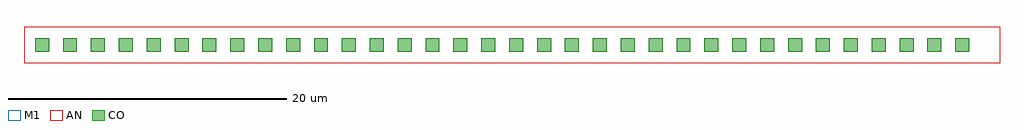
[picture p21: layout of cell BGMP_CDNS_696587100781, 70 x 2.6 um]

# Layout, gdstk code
import gdstk
lib = gdstk.Library(unit=1e-6, precision=1e-09)
def R(c, l, rs):  # rectangles x0, y0, x1, y1
    for r in rs: c.add(gdstk.rectangle(r[:2], r[2:], *l))
def A(c, l, x, y, w, h, nx, ny, dx, dy):  # array of equal rectangles
    R(c, l, [(x+i*dx, y+j*dy, x+i*dx+w, y+j*dy+h) for i in range(nx) for j in range(ny)])
AN = (3, 2)
CO = (11, 0)
M1 = (13, 0)

bgmp_cdns_696587100781 = lib.new_cell('BGMP_CDNS_696587100781')
R(bgmp_cdns_696587100781, AN, [(0,0,70,2.6)])
A(bgmp_cdns_696587100781, CO, 0.8, 0.8, 1, 1, 34, 1, 2, 0)
R(bgmp_cdns_696587100781, M1, [(0,0,70,2.6)])

lib.write_gds('BGMP_CDNS_696587100781.gds')
